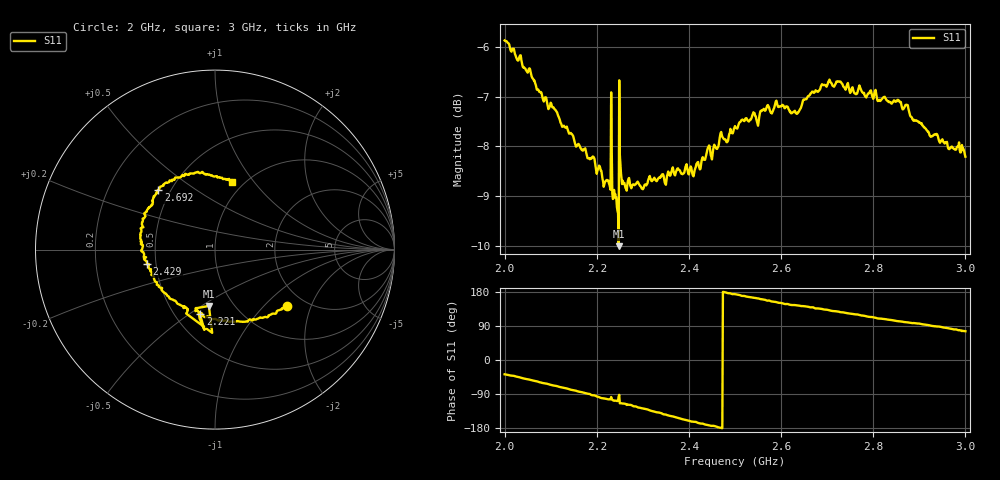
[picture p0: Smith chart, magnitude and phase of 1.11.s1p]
!Agilent Technologies,E8364A,US41440144,A.06.04.32
!Agilent E8364A: A.06.04.32
!Date: Friday, February 02, 2018 10:35:25
!Correction: S22(Full 2 Port(1,2))
!S1P File: Measurement: S22:
# Hz S  dB  R 50
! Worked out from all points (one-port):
!   801 points, 2 GHz to 3 GHz, reference 50 ohm
!   lowest |S11| = -10.0 dB at 2.248 GHz (marker M1), VSWR 1.92, Z = 38.5 - j26.9 ohm
!   |S11| at or under -10 dB: 2.247475 GHz to 2.247505 GHz (30.5 kHz wide, 0.00136 % of centre)
!   S11 on the Smith chart (normalised r, x): 2 GHz: 1.63, -1.37; 2.221 GHz: 0.67, -0.55; 2.429 GHz: 0.45, -0.09; 2.692 GHz: 0.43, +0.36; 3 GHz: 0.88, +0.78
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2e9  -5.86 -37.7
2.0575e9  -6.54 -52.9
2.105e9  -7.21 -67.2
2.125e9  -7.61 -72.7
2.19125e9  -8.20 -93.1
2.22125e9  -8.68 -102.7
2.2275e9  -8.77 -103.8
2.23625e9  -9.05 -106.5
2.2425e9  -9.04 -107.3
2.24375e9  -9.23 -108.3
2.2475e9  -10.01 -96.2
2.25e9  -8.16 -114.4
2.25375e9  -8.64 -114.2
2.255e9  -8.76 -114.7
2.31125e9  -8.69 -131.2
2.375e9  -8.45 -152.2
2.42875e9  -8.24 -167.8
2.47e9  -7.71 -179.4
2.5e9  -7.59 173.7
2.5675e9  -7.24 157.6
2.625e9  -7.32 145.0
2.65375e9  -7.05 141.4
2.6925e9  -6.76 133.4
2.75e9  -6.92 122.2
2.80625e9  -6.93 110.9
2.875e9  -7.17 99.1
2.92375e9  -7.80 91.0
3e9  -8.21 76.0
